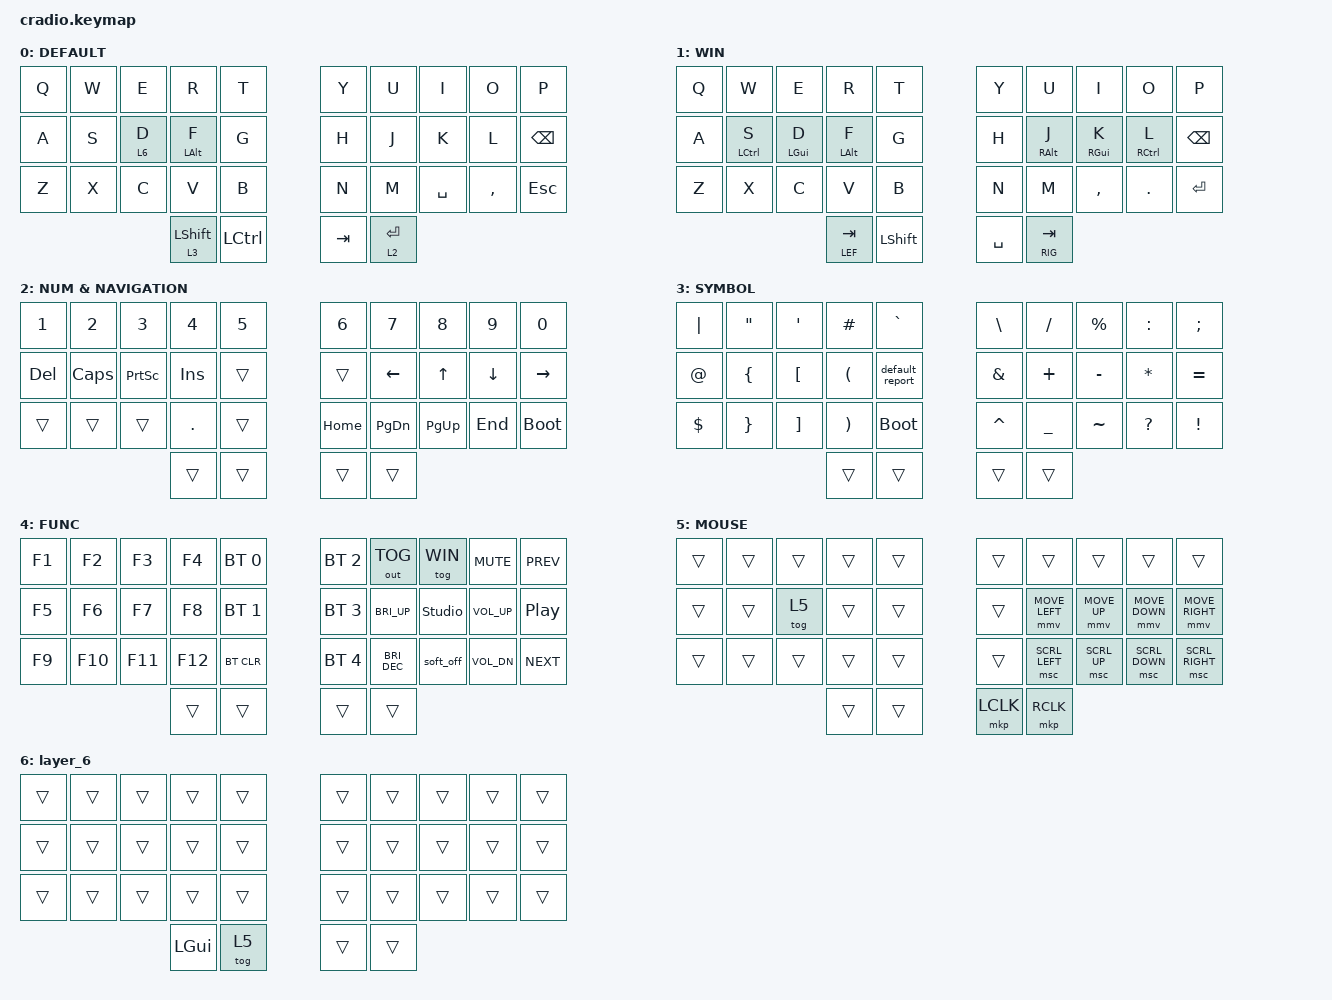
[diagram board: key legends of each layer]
// Copyright (c) 2022 The ZMK Contributors
// SPDX-License-Identifier: MIT

#define ZMK_POINTING_DEFAULT_MOVE_VAL 2500  // 600
#define ZMK_POINTING_DEFAULT_SCRL_VAL 20    // 10

#include <behaviors.dtsi>
#include <dt-bindings/zmk/bt.h>
#include <dt-bindings/zmk/keys.h>
#include <dt-bindings/zmk/outputs.h>
#include <dt-bindings/zmk/pointing.h>

#define MAC 0
#define WIN 1
#define RIG 2
#define LEF 3
#define TRI 4
#define MOUSE 5

// https://zmk.dev/docs/development/hardware-integration/soft-off-setup?advanced-methods=wakeup&kscan-type=dkscan

/ {
    keys {
        compatible = "gpio-keys";

        soft_off_gpio_key: soft_off_gpio_key { gpios = <&gpio1 6 (GPIO_ACTIVE_LOW | GPIO_PULL_UP)>; };
    };

    wakeup_scan: wakeup_scan {
        compatible = "zmk,kscan-gpio-direct";
        input-keys = <&soft_off_gpio_key>;
        wakeup-source;
    };

    side_band_behavior_triggers: side_band_behavior_triggers {
        compatible = "zmk,kscan-sideband-behaviors";
        kscan = <&wakeup_scan>;
        auto-enable;
        wakeup-source;
    };

    soft_off_wakers {
        compatible = "zmk,soft-off-wakeup-sources";
        wakeup-sources = <&wakeup_scan>;
    };
};

/ {
    chosen { zmk,charmap = &charmap_us; };

    behaviors {
        ht: hold_tap {
            label = "hold_tap";
            compatible = "zmk,behavior-hold-tap";
            #binding-cells = <2>;
            flavor = "balanced";
            tapping-term-ms = <200>;
            quick-tap-ms = <150>;
            global-quick-tap;
            bindings = <&kp>, <&kp>;
        };

        mmv {
            acceleration-exponent = <1>;      // 1
            time-to-max-speed-ms = <300>;    // 40
            delay-ms = <0>;                   // 0
        };

        msc {
            acceleration-exponent = <0>;      // 0
            time-to-max-speed-ms = <40>;      // 500
            delay-ms = <0>;                   // 10
        };
    };

    conditional_layers {
        compatible = "zmk,conditional-layers";

        tri_layer {
            if-layers = <RIG LEF>;
            then-layer = <TRI>;
        };
    };

    keymap {
        compatible = "zmk,keymap";

        default_layer {
            display-name = "DEFAULT";
            bindings = <
&kp Q  &kp W  &kp E    &kp R             &kp T        &kp Y    &kp U        &kp I      &kp O      &kp P
&kp A  &kp S  &lt 6 D  &ht LEFT_ALT F    &kp G        &kp H    &kp J        &kp K      &kp L      &kp BSPC
&kp Z  &kp X  &kp C    &kp V             &kp B        &kp N    &kp M        &kp SPACE  &kp COMMA  &kp ESCAPE
                       &lt 3 LEFT_SHIFT  &kp LCTRL    &kp TAB  &lt 2 ENTER
            >;
        };

        windows_layer {
            display-name = "WIN";
            bindings = <
&kp Q  &kp W        &kp E       &kp R           &kp T         &kp Y      &kp U            &kp I       &kp O        &kp P
&kp A  &ht LCTRL S  &ht LGUI D  &ht LEFT_ALT F  &kp G         &kp H      &ht RIGHT_ALT J  &ht RGUI K  &ht RCTRL L  &kp BSPC
&kp Z  &kp X        &kp C       &kp V           &kp B         &kp N      &kp M            &kp COMMA   &kp DOT      &kp ENTER
                                &lt LEF TAB     &kp LSHIFT    &kp SPACE  &lt RIG TAB
            >;
        };

        right_layer {
            display-name = "NUM & NAVIGATION";
            bindings = <
&kp N1   &kp N2    &kp N3     &kp N4   &kp N5    &kp N6    &kp N7     &kp N8     &kp N9    &kp N0
&kp DEL  &kp CAPS  &kp PSCRN  &kp INS  &trans    &trans    &kp LEFT   &kp UP     &kp DOWN  &kp RIGHT
&trans   &trans    &trans     &kp DOT  &trans    &kp HOME  &kp PG_DN  &kp PG_UP  &kp END   &bootloader
                              &trans   &trans    &trans    &trans
            >;
        };

        left_layer {
            display-name = "SYMBOL";
            bindings = <
&kp PIPE    &kp DOUBLE_QUOTES  &kp SQT            &kp HASH  &kp GRAVE          &kp BACKSLASH  &kp FSLH   &kp PERCENT  &kp COLON     &kp SEMI
&kp AT      &kp LEFT_BRACE     &kp LEFT_BRACKET   &kp LPAR  &default_report    &kp AMPS       &kp PLUS   &kp MINUS    &kp ASTERISK  &kp EQUAL
&kp DOLLAR  &kp RIGHT_BRACE    &kp RIGHT_BRACKET  &kp RPAR  &bootloader        &kp CARET      &kp UNDER  &kp TILDE    &kp QUESTION  &kp EXCLAMATION
                                                  &trans    &trans             &trans         &trans
            >;
        };

        tri_layer {
            display-name = "FUNC";
            bindings = <
&kp F1  &kp F2   &kp F3   &kp F4   &bt BT_SEL 0    &bt BT_SEL 2  &out OUT_TOG   &tog WIN        &kp C_MUTE    &kp C_PREV
&kp F5  &kp F6   &kp F7   &kp F8   &bt BT_SEL 1    &bt BT_SEL 3  &kp C_BRI_UP   &studio_unlock  &kp C_VOL_UP  &kp C_PP
&kp F9  &kp F10  &kp F11  &kp F12  &bt BT_CLR      &bt BT_SEL 4  &kp C_BRI_DEC  &soft_off       &kp C_VOL_DN  &kp C_NEXT
                          &trans   &trans          &trans        &trans
            >;
        };

        mouse {
            display-name = "MOUSE";
            bindings = <
&trans  &trans  &trans  &trans  &trans    &trans     &trans          &trans        &trans          &trans
&trans  &trans  &tog 5  &trans  &trans    &trans     &mmv MOVE_LEFT  &mmv MOVE_UP  &mmv MOVE_DOWN  &mmv MOVE_RIGHT
&trans  &trans  &trans  &trans  &trans    &trans     &msc SCRL_LEFT  &msc SCRL_UP  &msc SCRL_DOWN  &msc SCRL_RIGHT
                        &trans  &trans    &mkp LCLK  &mkp RCLK
            >;
        };

        layer_6 {
            bindings = <
&trans  &trans  &trans  &trans        &trans    &trans  &trans  &trans  &trans  &trans
&trans  &trans  &trans  &trans        &trans    &trans  &trans  &trans  &trans  &trans
&trans  &trans  &trans  &trans        &trans    &trans  &trans  &trans  &trans  &trans
                        &kp LEFT_GUI  &tog 5    &trans  &trans
            >;
        };
    };
};
